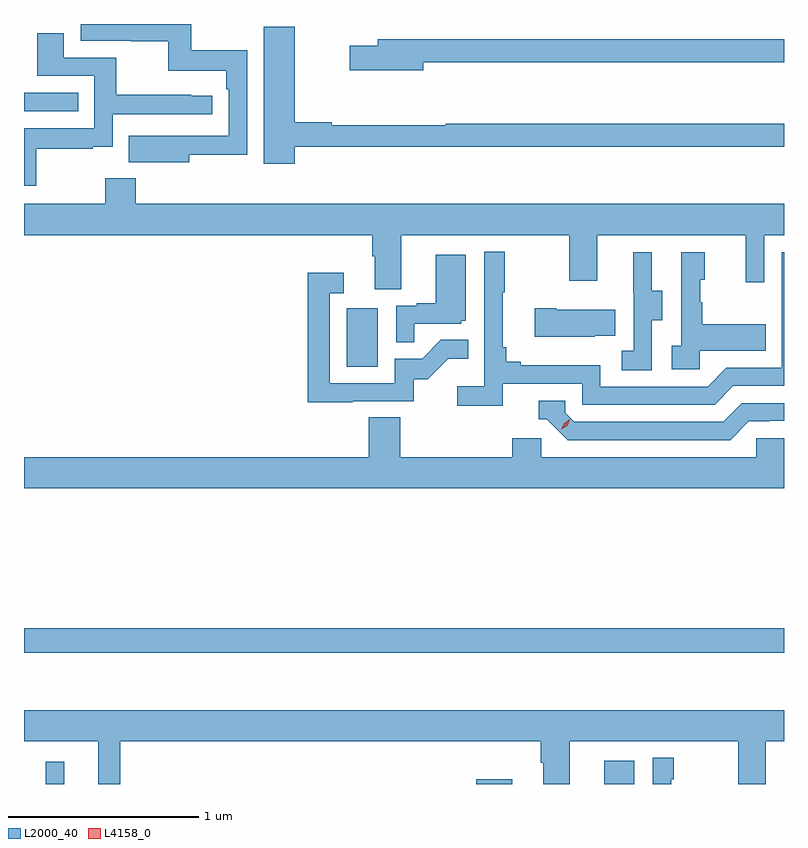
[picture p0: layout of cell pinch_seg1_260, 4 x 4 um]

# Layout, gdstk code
import gdstk
lib = gdstk.Library(unit=1e-6, precision=1e-09)
def R(c, l, rs):  # rectangles x0, y0, x1, y1
    for r in rs: c.add(gdstk.rectangle(r[:2], r[2:], *l))
def P(c, l, *ps):  # polygons
    for p in ps: c.add(gdstk.Polygon(p, *l))
L2000_40 = (2000, 40)
L4158_0 = (4158, 0)

pinch_seg1_260 = lib.new_cell('pinch_seg1_260')
R(pinch_seg1_260, L2000_40, [(937.184,579.479,937.281,579.595), (939.451,579.479,939.64,579.505), (940.124,579.479,940.282,579.601), (937.07,580.17,941.07,580.298), (938.768,581.676,938.932,581.983), (937.07,583.02,937.355,583.116)])
P(pinch_seg1_260, L2000_40, [(937.939,582.79),(938.244,582.79),(938.244,583.342),(937.951,583.342),(937.951,583.479),(937.368,583.479),(937.368,583.392),(937.633,583.392),(937.633,583.387),(937.83,583.387),(937.83,583.232),(938.135,583.232),(938.135,583.136),(938.148,583.136),(938.148,582.891),(937.835,582.891),(937.835,582.892),(937.621,582.892),(937.621,582.752),(937.939,582.752)],
  [(938.494,582.834),(941.07,582.834),(941.07,582.955),(939.29,582.955),(939.29,582.947),(938.69,582.947),(938.69,582.962),(938.494,582.962),(938.494,583.465),(938.333,583.465),(938.333,582.744),(938.494,582.744)],
  [(937.135,582.822),(937.433,582.822),(937.433,582.833),(937.536,582.833),(937.536,583.005),(938.062,583.005),(938.062,583.101),(937.949,583.101),(937.949,583.106),(937.556,583.106),(937.556,583.302),(937.279,583.302),(937.279,583.43),(937.139,583.43),(937.139,583.206),(937.44,583.206),(937.44,582.93),(937.07,582.93),(937.07,582.627),(937.135,582.627)],
  [(939.172,583.278),(941.07,583.278),(941.07,583.399),(938.933,583.399),(938.933,583.365),(938.784,583.365),(938.784,583.235),(939.172,583.235)],
  [(939.055,582.368),(939.94,582.368),(939.94,582.129),(940.087,582.129),(940.087,582.368),(940.868,582.368),(940.868,582.12),(940.965,582.12),(940.965,582.368),(941.07,582.368),(941.07,582.532),(937.658,582.532),(937.658,582.667),(937.498,582.667),(937.498,582.532),(937.07,582.532),(937.07,582.368),(938.903,582.368),(938.903,582.256),(938.915,582.256),(938.915,582.082),(939.055,582.082)],
  [(939.59,581.586),(940.008,581.586),(940.008,581.475),(940.705,581.475),(940.804,581.574),(941.07,581.574),(941.07,582.279),(941.058,582.279),(941.058,581.67),(940.767,581.67),(940.668,581.571),(940.104,581.571),(940.104,581.683),(939.685,581.683),(939.685,581.702),(939.608,581.702),(939.608,581.779),(939.589,581.779),(939.589,582.067),(939.601,582.067),(939.601,582.28),(939.492,582.28),(939.492,581.572),(939.351,581.572),(939.351,581.47),(939.59,581.47)],
  [(940.626,581.759),(940.973,581.759),(940.973,581.899),(940.639,581.899),(940.639,582.014),(940.629,582.014),(940.629,582.132),(940.654,582.132),(940.654,582.277),(940.53,582.277),(940.53,581.786),(940.479,581.786),(940.479,581.661),(940.626,581.661)],
  [(940.374,581.92),(940.429,581.92),(940.429,582.075),(940.375,582.075),(940.375,582.277),(940.277,582.277),(940.277,582.063),(940.278,582.063),(940.278,581.759),(940.215,581.759),(940.215,581.656),(940.374,581.656)],
  [(939.125,581.901),(939.372,581.901),(939.372,581.916),(939.394,581.916),(939.394,582.265),(939.236,582.265),(939.236,582.01),(939.137,582.01),(939.137,581.997),(939.03,581.997),(939.03,581.803),(939.125,581.803)],
  [(938.801,581.493),(939.12,581.493),(939.12,581.61),(939.196,581.61),(939.303,581.717),(939.407,581.717),(939.407,581.816),(939.263,581.816),(939.165,581.718),(939.021,581.718),(939.021,581.589),(938.679,581.589),(938.679,582.063),(938.752,582.063),(938.752,582.169),(938.563,582.169),(938.563,581.488),(938.801,581.488)],
  [(940.073,581.837),(940.181,581.837),(940.181,581.974),(939.871,581.974),(939.871,581.982),(939.759,581.982),(939.759,581.834),(940.073,581.834)],
  [(940.885,581.388),(940.992,581.388),(940.992,581.391),(941.07,581.391),(941.07,581.484),(940.848,581.484),(940.749,581.385),(939.966,581.385),(939.918,581.433),(939.918,581.496),(939.779,581.496),(939.779,581.4),(939.822,581.4),(939.933,581.289),(940.786,581.289)],
  [(941.07,581.298),(940.923,581.298),(940.923,581.2),(939.792,581.2),(939.792,581.298),(939.641,581.298),(939.641,581.2),(939.05,581.2),(939.05,581.408),(938.885,581.408),(938.885,581.2),(937.07,581.2),(937.07,581.036),(941.07,581.036)],
  [(937.577,579.704),(939.791,579.704),(939.791,579.592),(939.803,579.592),(939.803,579.479),(939.943,579.479),(939.943,579.704),(940.828,579.704),(940.828,579.479),(940.975,579.479),(940.975,579.704),(941.07,579.704),(941.07,579.868),(937.07,579.868),(937.07,579.704),(937.46,579.704),(937.46,579.479),(937.577,579.479)],
  [(940.476,579.503),(940.489,579.503),(940.489,579.616),(940.38,579.616),(940.38,579.479),(940.476,579.479)])
P(pinch_seg1_260, L4158_0, [(939.897,581.345),(939.897,581.345),(939.913,581.378),(939.943,581.398),(939.943,581.398),(939.943,581.398),(939.928,581.365),(939.897,581.345)])

lib.write_gds('pinch_seg1_260.gds')
